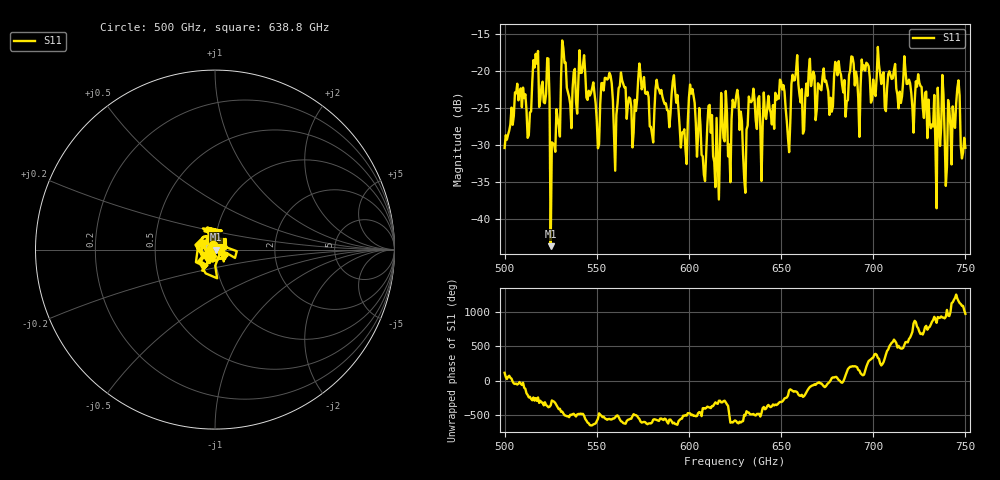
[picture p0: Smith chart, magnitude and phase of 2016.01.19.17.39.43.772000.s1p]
!Created with skrf (http://scikit-rf.org).
# GHz S RI R 50.0
!freq ReS11 ImS11
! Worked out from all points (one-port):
!   401 points, 500 GHz to 750 GHz, reference 50 ohm
!   lowest |S11| = -43.7 dB at 525 GHz (marker M1), VSWR 1.01, Z = 50.7 + j0.0488 ohm
!   |S11| at or under -10 dB: start of sweep to end of sweep
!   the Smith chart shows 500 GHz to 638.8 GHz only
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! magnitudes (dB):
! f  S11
! 500 GHz  -30.4
! 506.9 GHz  -21.8
! 513.1 GHz  -28.7
! 516.9 GHz  -17.7
! 523.1 GHz  -18.3
! 525 GHz  -43.7
! 526.2 GHz  -29.8
! 531.2 GHz  -15.9
! 541.9 GHz  -20.3
! 550.6 GHz  -30.5
! 562.5 GHz  -22.1
! 593.8 GHz  -23.3
! 597.5 GHz  -27.9
! 601.9 GHz  -22.5
! 608.1 GHz  -34.1
! 611.2 GHz  -24.6
! 615 GHz  -26.4
! 625 GHz  -24.9
! 630.6 GHz  -36.5
! 633.8 GHz  -24.3
! 650.6 GHz  -22.5
! 653.8 GHz  -29.1
! 656.2 GHz  -20.5
! 687.5 GHz  -20.0
! 718.8 GHz  -21.8
! 735 GHz  -22.3
! 745.6 GHz  -22.4
! 750 GHz  -30.4
